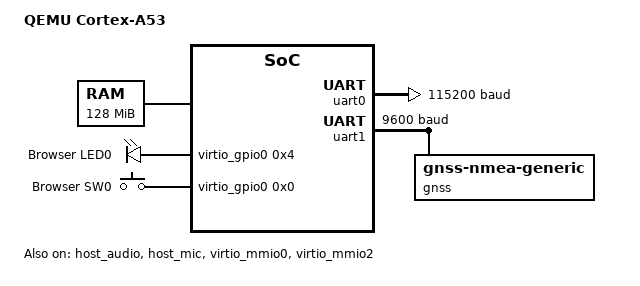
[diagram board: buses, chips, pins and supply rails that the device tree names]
/dts-v1/;

/ {
	#address-cells = <0x2>;
	#size-cells = <0x2>;
	model = "QEMU Cortex-A53";
	compatible = "linux,dummy-virt";

	chosen {
		zephyr,console = &uart0;
		zephyr,sram = &sram0;
	};

	aliases {
		gnss = &gnss;
		dmic0 = &host_mic;
		led0 = &led0;
		sw0 = &button0;
	};

	sram0: memory@40000000 {
		device_type = "memory";
		compatible = "mmio-sram";
		reg = < 0x0 0x40000000 0x0 0x8000000 >;
	};

	soc {
		#address-cells = <0x2>;
		#size-cells = <0x2>;
		compatible = "simple-bus";
		ranges;

		uart0: uart@9000000 {
			compatible = "arm,pl011";
			reg = < 0x0 0x9000000 0x0 0x1000 >;
			interrupts = < 0x0 0x1 0x4 0xa0 >;
			status = "okay";
			current-speed = <0x1c200>;
		};

		uart1: uart@9040000 {
			compatible = "arm,pl011";
			reg = < 0x0 0x9040000 0x0 0x1000 >;
			interrupts = < 0x0 0x8 0x4 0xa0 >;
			current-speed = <0x2580>;
			status = "okay";

			gnss: gnss-nmea-generic {
				compatible = "gnss-nmea-generic";
			};
		};

		host_audio: audio@90d0000 {
			compatible = "qemu,host-audio";
			reg = < 0x0 0x90d0000 0x0 0x1000 >;
			status = "okay";
		};

		host_mic: audio@90e0000 {
			compatible = "qemu,host-mic";
			reg = < 0x0 0x90e0000 0x0 0x1000 >;
			status = "okay";
		};

		virtio_mmio0: virtio_mmio@a000000 {
			compatible = "virtio,mmio";
			reg = < 0x0 0xa000000 0x0 0x200 >;
			interrupts = < 0x0 0x10 0x1 0xa0 >;
			status = "okay";

			virtio_net0: virtio-net {
				compatible = "virtio,net";
				local-mac-address = [ 02 00 00 00 00 01 ];
				status = "okay";
			};
		};

		virtio_mmio2: virtio_mmio@a000400 {
			compatible = "virtio,mmio";
			reg = < 0x0 0xa000400 0x0 0x200 >;
			interrupts = < 0x0 0x12 0x1 0xa0 >;
			status = "okay";

			virtio_gpio0: virtio-gpio {
				compatible = "virtio,gpio";
				gpio-controller;
				#gpio-cells = <0x2>;
				ngpios = <0x8>;
				status = "okay";
			};
		};

		virtio_mmio4: virtio_mmio@a000800 {
			compatible = "virtio,mmio";
			reg = < 0x0 0xa000800 0x0 0x200 >;
			interrupts = < 0x0 0x14 0x1 0xa0 >;
			status = "disabled";

			virtio_i2c0: virtio-i2c {
				compatible = "virtio,i2c";
				#address-cells = <0x1>;
				#size-cells = <0x0>;
				status = "disabled";
			};
		};

		ramfb0: ramfb {
			compatible = "qemu,ramfb";
			width = <0x258>;
			height = <0x190>;
			status = "okay";
		};
	};

	leds {
		compatible = "gpio-leds";

		led0: led_0 {
			gpios = < &virtio_gpio0 0x4 0x0 >;
			label = "Browser LED0";
		};
	};

	keys {
		compatible = "gpio-keys";
		debounce-interval-ms = <0x1e>;

		button0: button_0 {
			gpios = < &virtio_gpio0 0x0 0x0 >;
			zephyr,code = <0xb>;
			label = "Browser SW0";
		};
	};
};
